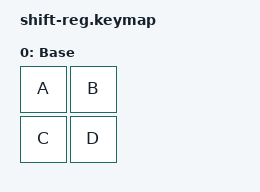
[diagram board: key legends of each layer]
/*
 * Copyright (c) 2020 The ZMK Contributors
 *
 * SPDX-License-Identifier: MIT
 */

#include <behaviors.dtsi>
#include <dt-bindings/zmk/keys.h>

#define NAV_L 1
#define NUM_L 2

/ {
    keymap {
        compatible = "zmk,keymap";

        qwerty_layer {
            display-name = "Base";
            bindings = <
&kp A      &kp B
&kp C      &kp D
            >;
        };
    };
};
